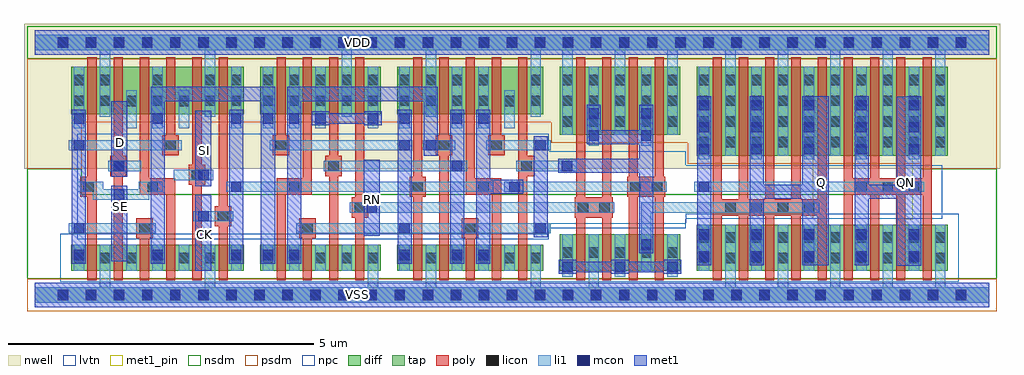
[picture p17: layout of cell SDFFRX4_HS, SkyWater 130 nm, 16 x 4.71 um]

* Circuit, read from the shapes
.subckt SDFFRX4_HS CK D Q QN RN SE SI VDD VSS
XM1 VSS SE n1 VSS sky130_fd_pr__nfet_01v8_lvt w=0.425 l=0.15
XM2 n2 D VSS VSS sky130_fd_pr__nfet_01v8_lvt w=0.425 l=0.15
XM3 n3 n1 n2 VSS sky130_fd_pr__nfet_01v8_lvt w=0.425 l=0.15
XM4 n4 SE n3 VSS sky130_fd_pr__nfet_01v8_lvt w=0.425 l=0.15
XM5 VSS SI n4 VSS sky130_fd_pr__nfet_01v8_lvt w=0.425 l=0.15
XM6 n5 CK VSS VSS sky130_fd_pr__nfet_01v8_lvt w=0.425 l=0.15
XM7 n6 n5 n3 VSS sky130_fd_pr__nfet_01v8_lvt w=0.425 l=0.15
XM8 n7 n8 n6 VSS sky130_fd_pr__nfet_01v8_lvt w=0.425 l=0.15
XM9 n9 n10 n7 VSS sky130_fd_pr__nfet_01v8_lvt w=0.425 l=0.15
XM10 VSS RN n9 VSS sky130_fd_pr__nfet_01v8_lvt w=0.425 l=0.15
XM11 VSS n5 n8 VSS sky130_fd_pr__nfet_01v8_lvt w=0.425 l=0.15
XM12 n10 n6 VSS VSS sky130_fd_pr__nfet_01v8_lvt w=0.425 l=0.15
XM13 n11 n8 n10 VSS sky130_fd_pr__nfet_01v8_lvt w=0.425 l=0.15
XM14 n12 n5 n11 VSS sky130_fd_pr__nfet_01v8_lvt w=0.425 l=0.15
XM15 VSS n13 n12 VSS sky130_fd_pr__nfet_01v8_lvt w=0.425 l=0.15
XM16 VSS RN n14 VSS sky130_fd_pr__nfet_01v8_lvt w=0.6 l=0.15 m=2
XM17 n13 n11 n14 VSS sky130_fd_pr__nfet_01v8_lvt w=0.6 l=0.15 m=2
XM18 VSS n13 n15 VSS sky130_fd_pr__nfet_01v8_lvt w=0.76 l=0.15
XM19 Q n13 VSS VSS sky130_fd_pr__nfet_01v8_lvt w=0.76 l=0.15 m=4
XM20 QN n15 VSS VSS sky130_fd_pr__nfet_01v8_lvt w=0.76 l=0.15 m=4
XM21 VDD SE n1 VDD sky130_fd_pr__pfet_01v8 w=0.78 l=0.15
XM22 n16 D VDD VDD sky130_fd_pr__pfet_01v8 w=0.78 l=0.15
XM23 n3 SE n16 VDD sky130_fd_pr__pfet_01v8 w=0.78 l=0.15
XM24 n17 n1 n3 VDD sky130_fd_pr__pfet_01v8 w=0.78 l=0.15
XM25 VDD SI n17 VDD sky130_fd_pr__pfet_01v8 w=0.78 l=0.15
XM26 n5 CK VDD VDD sky130_fd_pr__pfet_01v8 w=0.78 l=0.15
XM27 n6 n8 n3 VDD sky130_fd_pr__pfet_01v8 w=0.78 l=0.15
XM28 n18 n5 n6 VDD sky130_fd_pr__pfet_01v8 w=0.78 l=0.15
XM29 VDD n10 n18 VDD sky130_fd_pr__pfet_01v8 w=0.78 l=0.15
XM30 n18 RN VDD VDD sky130_fd_pr__pfet_01v8 w=0.78 l=0.15
XM31 VDD n5 n8 VDD sky130_fd_pr__pfet_01v8 w=0.78 l=0.15
XM32 n10 n6 VDD VDD sky130_fd_pr__pfet_01v8 w=0.78 l=0.15
XM33 n11 n5 n10 VDD sky130_fd_pr__pfet_01v8 w=0.78 l=0.15
XM34 n19 n8 n11 VDD sky130_fd_pr__pfet_01v8 w=0.78 l=0.15
XM35 VDD n13 n19 VDD sky130_fd_pr__pfet_01v8 w=0.78 l=0.15
XM36 n13 RN VDD VDD sky130_fd_pr__pfet_01v8 w=1.12 l=0.15 m=2
XM37 n13 n11 VDD VDD sky130_fd_pr__pfet_01v8 w=1.12 l=0.15 m=2
XM38 VDD n13 n15 VDD sky130_fd_pr__pfet_01v8 w=1.46 l=0.15
XM39 Q n13 VDD VDD sky130_fd_pr__pfet_01v8 w=1.46 l=0.15 m=4
XM40 QN n15 VDD VDD sky130_fd_pr__pfet_01v8 w=1.46 l=0.15 m=4
.ends

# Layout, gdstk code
from math import pi, radians
import gdstk
lib = gdstk.Library(unit=1e-6, precision=1e-09)
def R(c, l, rs):  # rectangles x0, y0, x1, y1
    for r in rs: c.add(gdstk.rectangle(r[:2], r[2:], *l))
def A(c, l, x, y, w, h, nx, ny, dx, dy):  # array of equal rectangles
    R(c, l, [(x+i*dx, y+j*dy, x+i*dx+w, y+j*dy+h) for i in range(nx) for j in range(ny)])
def P(c, l, *ps):  # polygons
    for p in ps: c.add(gdstk.Polygon(p, *l))
nwell = (64, 20)
diff = (65, 20)
tap = (65, 44)
poly = (66, 20)
licon = (66, 44)
li1 = (67, 20)
mcon = (67, 44)
met1_pin = (68, 16)
met1 = (68, 20)
nsdm = (93, 44)
psdm = (94, 20)
npc = (95, 20)
lvtn = (125, 44)

pyl1con_c_cdns_758729172 = lib.new_cell('PYL1CON_C_CDNS_758729172862')
R(pyl1con_c_cdns_758729172, poly, [(-0.135,-0.165,0.135,0.165)])
R(pyl1con_c_cdns_758729172, licon, [(-0.085,-0.085,0.085,0.085)])
R(pyl1con_c_cdns_758729172, npc, [(-0.185,-0.185,0.185,0.185)])

l1m1_c_cdns_758729172861 = lib.new_cell('L1M1_C_CDNS_7587291728613')
R(l1m1_c_cdns_758729172861, li1, [(-0.085,-0.525,0.085,0.525)])
A(l1m1_c_cdns_758729172861, mcon, -0.085, -0.445, 0.17, 0.17, 1, 3, 0, 0.36)
R(l1m1_c_cdns_758729172861, met1, [(-0.115,-0.505,0.115,0.505)])

c_l1m1_c_cdns_758729172861 = lib.new_cell('L1M1_C_CDNS_758729172861')
R(c_l1m1_c_cdns_758729172861, li1, [(-0.085,-0.165,0.085,0.165)])
R(c_l1m1_c_cdns_758729172861, mcon, [(-0.085,-0.085,0.085,0.085)])
R(c_l1m1_c_cdns_758729172861, met1, [(-0.115,-0.145,0.115,0.145)])

l1m1_c_cdns_758729172864 = lib.new_cell('L1M1_C_CDNS_758729172864')
R(l1m1_c_cdns_758729172864, li1, [(-0.085,-0.345,0.085,0.345)])
R(l1m1_c_cdns_758729172864, mcon, [(-0.085,-0.265,0.085,-0.095), (-0.085,0.095,0.085,0.265)])
R(l1m1_c_cdns_758729172864, met1, [(-0.115,-0.325,0.115,0.325)])

l1m1_c_cdns_758729172860 = lib.new_cell('L1M1_C_CDNS_758729172860')
R(l1m1_c_cdns_758729172860, li1, [(-0.165,-0.085,0.165,0.085)])
R(l1m1_c_cdns_758729172860, mcon, [(-0.085,-0.085,0.085,0.085)])
R(l1m1_c_cdns_758729172860, met1, [(-0.115,-0.145,0.115,0.145)])

l1m1_c_cdns_758729172863 = lib.new_cell('L1M1_C_CDNS_758729172863')
R(l1m1_c_cdns_758729172863, li1, [(-0.085,-0.165,0.085,0.165)])
R(l1m1_c_cdns_758729172863, mcon, [(-0.085,-0.085,0.085,0.085)])
R(l1m1_c_cdns_758729172863, met1, [(-0.145,-0.115,0.145,0.115)])

licondiff_c_cdns_7587291 = lib.new_cell('LICONDIFF_C_CDNS_7587291728611')
R(licondiff_c_cdns_7587291, diff, [(-0.125,-0.145,0.125,0.145)])
R(licondiff_c_cdns_7587291, licon, [(-0.085,-0.085,0.085,0.085), (-0.085,-0.085,0.085,0.085)])

l1m1_c_cdns_758729172865 = lib.new_cell('L1M1_C_CDNS_758729172865')
R(l1m1_c_cdns_758729172865, li1, [(-0.165,-0.085,0.165,0.085)])
R(l1m1_c_cdns_758729172865, mcon, [(-0.085,-0.085,0.085,0.085)])
R(l1m1_c_cdns_758729172865, met1, [(-0.145,-0.115,0.145,0.115)])

c_pyl1con_c_cdns_758729172 = lib.new_cell('PYL1CON_C_CDNS_7587291728618')
R(c_pyl1con_c_cdns_758729172, poly, [(-0.135,-0.29,0.135,0.29)])
R(c_pyl1con_c_cdns_758729172, licon, [(-0.085,-0.085,0.085,0.085)])
R(c_pyl1con_c_cdns_758729172, npc, [(-0.185,-0.185,0.185,0.185)])

l1m1_c_cdns_758729172862 = lib.new_cell('L1M1_C_CDNS_7587291728621')
R(l1m1_c_cdns_758729172862, li1, [(-0.125,-0.085,0.125,0.085)])
R(l1m1_c_cdns_758729172862, mcon, [(-0.085,-0.085,0.085,0.085)])
R(l1m1_c_cdns_758729172862, met1, [(-0.115,-0.145,0.115,0.145)])

c_pyl1con_c_cdns_758729172_ = lib.new_cell('PYL1CON_C_CDNS_7587291728622')
R(c_pyl1con_c_cdns_758729172_, poly, [(-0.135,-0.37,0.135,0.21)])
R(c_pyl1con_c_cdns_758729172_, licon, [(-0.085,-0.085,0.085,0.085)])
R(c_pyl1con_c_cdns_758729172_, npc, [(-0.185,-0.185,0.185,0.185)])

sdffrx4_hs = lib.new_cell('SDFFRX4_HS')
R(sdffrx4_hs, nwell, [(-0.18,2.07,15.82,4.445)])
R(sdffrx4_hs, diff, [(0.595,0.395,3.425,0.82), (3.695,0.395,5.665,0.82), (5.935,0.395,8.335,0.82), (8.605,0.395,10.575,0.995), (10.845,0.395,14.965,1.155), (10.845,2.285,14.965,3.745), (8.605,2.625,10.575,3.745), (0.595,2.965,3.425,3.745), (3.695,2.965,5.665,3.745), (5.935,2.965,8.335,3.745)])
A(sdffrx4_hs, poly, 1.72, 0.245, 0.15, 0.725, 3, 1, 2.67, 0)
A(sdffrx4_hs, poly, 11.11, 0.245, 0.15, 3.65, 9, 1, 0.43, 0)
R(sdffrx4_hs, poly, [(0.86,0.245,1.01,3.895), (1.29,0.245,1.44,3.895), (2.58,0.245,2.73,3.895), (3.01,0.245,3.16,3.895), (4.82,0.245,4.97,3.895), (5.25,0.245,5.4,3.895), (6.2,0.245,6.35,3.895), (6.63,0.245,6.78,3.895), (7.92,0.245,8.07,3.895), (2.15,2.455,2.3,3.895), (3.96,2.455,4.11,3.895), (7.49,2.455,7.64,3.895)])
P(sdffrx4_hs, poly, [(2.3,1.85),(1.87,1.85),(1.87,3.895),(1.72,3.895),(1.72,1.7),(2.15,1.7),(2.15,0.245),(2.3,0.245)],
  [(4.54,3.895),(4.39,3.895),(4.39,1.85),(3.96,1.85),(3.96,0.245),(4.11,0.245),(4.11,1.7),(4.54,1.7)],
  [(7.64,1.85),(7.21,1.85),(7.21,3.895),(7.06,3.895),(7.06,1.7),(7.49,1.7),(7.49,0.245),(7.64,0.245)],
  [(9.47,1.6),(9.45,1.6),(9.45,3.895),(9.3,3.895),(9.3,1.6),(9.02,1.6),(9.02,3.895),(8.87,3.895),(8.87,1.6),(8.85,1.6),(8.85,1.27),(8.87,1.27),(8.87,0.245),(9.02,0.245),(9.02,1.27),(9.3,1.27),(9.3,0.245),(9.45,0.245),(9.45,1.27),(9.47,1.27)],
  [(10.33,1.94),(10.31,1.94),(10.31,3.895),(10.16,3.895),(10.16,1.94),(9.88,1.94),(9.88,3.895),(9.73,3.895),(9.73,1.94),(9.71,1.94),(9.71,1.61),(9.73,1.61),(9.73,0.245),(9.88,0.245),(9.88,1.61),(10.16,1.61),(10.16,0.245),(10.31,0.245),(10.31,1.61),(10.33,1.61)])
A(sdffrx4_hs, licon, 0.375, -0.085, 0.17, 0.17, 33, 2, 0.46, 4.14)
A(sdffrx4_hs, licon, 1.065, 0.52, 0.17, 0.17, 3, 2, 0.86, 2.58)
A(sdffrx4_hs, licon, 5.975, 0.52, 0.17, 0.17, 4, 2, 0.43, 2.58)
A(sdffrx4_hs, licon, 10.885, 0.52, 0.17, 0.17, 10, 2, 0.43, 0.34)
A(sdffrx4_hs, licon, 8.645, 0.61, 0.17, 0.17, 5, 2, 0.43, 2.15)
A(sdffrx4_hs, licon, 10.885, 2.42, 0.17, 0.17, 10, 4, 0.43, 0.34)
A(sdffrx4_hs, licon, 3.735, 3.1, 0.17, 0.17, 5, 2, 0.43, 0.34)
A(sdffrx4_hs, licon, 8.645, 3.1, 0.17, 0.17, 5, 2, 0.43, 0.34)
A(sdffrx4_hs, licon, 1.065, 3.44, 0.17, 0.17, 3, 1, 0.86, 0)
A(sdffrx4_hs, licon, 5.975, 3.44, 0.17, 0.17, 4, 1, 0.43, 0)
R(sdffrx4_hs, licon, [(0.635,0.52,0.805,0.69), (3.215,0.52,3.385,0.69), (3.735,0.52,3.905,0.69), (4.165,0.52,4.335,0.69), (5.455,0.52,5.625,0.69), (8.125,0.52,8.295,0.69), (0.635,3.1,0.805,3.27), (3.215,3.1,3.385,3.27), (8.125,3.1,8.295,3.27), (0.635,3.44,0.805,3.61), (3.215,3.44,3.385,3.61), (8.125,3.44,8.295,3.61)])
A(sdffrx4_hs, li1, 0.635, 0.395, 0.17, 0.425, 3, 1, 1.29, 0)
A(sdffrx4_hs, li1, 8.645, 0.395, 0.17, 0.6, 3, 1, 0.86, 0)
A(sdffrx4_hs, li1, 10.885, 0.395, 0.17, 0.76, 5, 1, 0.86, 0)
A(sdffrx4_hs, li1, 10.885, 2.285, 0.17, 1.46, 5, 1, 0.86, 0)
A(sdffrx4_hs, li1, 0.635, 2.965, 0.17, 0.78, 3, 1, 1.29, 0)
A(sdffrx4_hs, li1, 3.735, 2.965, 0.17, 0.78, 3, 1, 0.43, 0)
R(sdffrx4_hs, li1, [(3.735,0.395,3.905,0.82), (4.165,0.395,4.335,0.82), (5.975,0.395,6.145,0.82), (6.835,0.395,7.005,0.82), (7.265,0.395,7.435,0.82), (9.075,2.625,9.245,3.745), (9.935,2.625,10.105,3.745), (5.455,2.965,5.625,3.745), (5.975,2.965,6.145,3.745), (6.835,2.965,7.005,3.745), (7.265,2.965,7.435,3.745)])
P(sdffrx4_hs, li1, [(2.095,1.86),(1.705,1.86),(1.705,1.73),(1.12,1.73),(1.12,1.86),(0.69,1.86),(0.69,1.69),(0.95,1.69),(0.95,1.56),(1.875,1.56),(1.875,1.69),(2.095,1.69)],
  [(12.855,1.52),(9.935,1.52),(9.935,0.395),(10.105,0.395),(10.105,1.35),(12.855,1.35)],
  [(15.64,4.265),(0,4.265),(0,4.015),(1.065,4.015),(1.065,2.925),(1.235,2.925),(1.235,4.015),(2.785,4.015),(2.785,2.925),(2.955,2.925),(2.955,4.015),(5.025,4.015),(5.025,2.925),(5.195,2.925),(5.195,4.015),(6.405,4.015),(6.405,2.925),(6.575,2.925),(6.575,4.015),(8.125,4.015),(8.125,2.925),(8.295,2.925),(8.295,4.015),(8.645,4.015),(8.645,2.625),(8.815,2.625),(8.815,4.015),(9.505,4.015),(9.505,2.625),(9.675,2.625),(9.675,4.015),(10.365,4.015),(10.365,2.625),(10.535,2.625),(10.535,4.015),(11.315,4.015),(11.315,2.285),(11.485,2.285),(11.485,4.015),(12.175,4.015),(12.175,2.285),(12.345,2.285),(12.345,4.015),(13.035,4.015),(13.035,2.285),(13.205,2.285),(13.205,4.015),(13.895,4.015),(13.895,2.285),(14.065,2.285),(14.065,4.015),(14.755,4.015),(14.755,2.285),(14.925,2.285),(14.925,4.015),(15.64,4.015)],
  [(15.64,0.125),(14.925,0.125),(14.925,1.155),(14.755,1.155),(14.755,0.125),(14.065,0.125),(14.065,1.155),(13.895,1.155),(13.895,0.125),(13.205,0.125),(13.205,1.155),(13.035,1.155),(13.035,0.125),(12.345,0.125),(12.345,1.155),(12.175,1.155),(12.175,0.125),(11.485,0.125),(11.485,1.155),(11.315,1.155),(11.315,0.125),(9.245,0.125),(9.245,0.995),(9.075,0.995),(9.075,0.125),(8.295,0.125),(8.295,0.82),(8.125,0.82),(8.125,0.125),(6.575,0.125),(6.575,0.82),(6.405,0.82),(6.405,0.125),(5.625,0.125),(5.625,0.82),(5.455,0.82),(5.455,0.125),(2.955,0.125),(2.955,0.82),(2.785,0.82),(2.785,0.125),(1.235,0.125),(1.235,0.82),(1.065,0.82),(1.065,0.125),(0,0.125),(0,-0.125),(15.64,-0.125)])
A(sdffrx4_hs, mcon, 0.375, -0.085, 0.17, 0.17, 33, 2, 0.46, 4.14)
R(sdffrx4_hs, met1_pin, [(2.63,0.4,2.89,1.64), (1.25,0.55,1.51,1.79), (5.39,0.975,5.65,2.215), (14.13,1.245,14.39,2.485), (12.75,1.25,13.01,2.49), (2.63,1.78,2.89,3.02), (1.25,1.935,1.51,3.175)])
P(sdffrx4_hs, met1, [(8.005,1.89),(7.465,1.89),(7.465,3.04),(7.235,3.04),(7.235,0.51),(7.465,0.51),(7.465,1.66),(8.005,1.66)],
  [(10.135,3.12),(9.905,3.12),(9.905,2.7),(9.045,2.7),(9.045,2.47),(9.905,2.47),(9.905,2.23),(8.575,2.23),(8.575,2),(9.905,2),(9.905,0.685),(10.135,0.685)],
  [(13.01,3.255),(12.575,3.255),(12.575,1.805),(11.945,1.805),(11.945,3.255),(11.715,3.255),(11.715,0.485),(11.945,0.485),(11.945,1.575),(12.575,1.575),(12.575,0.49),(12.75,0.49),(12.75,0.485),(13.01,0.485)],
  [(14.525,3.25),(14.13,3.25),(14.13,1.805),(13.665,1.805),(13.665,3.255),(13.435,3.255),(13.435,0.485),(13.665,0.485),(13.665,1.575),(14.13,1.575),(14.13,0.48),(14.525,0.48)])
R(sdffrx4_hs, nsdm, [(-0.125,3.875,15.765,4.405)])
P(sdffrx4_hs, nsdm, [(15.765,2.07),(14.515,2.07),(14.515,1.65),(0.77,1.65),(0.77,2.07),(-0.125,2.07),(-0.125,0.265),(15.765,0.265)])
R(sdffrx4_hs, psdm, [(-0.125,-0.265,15.765,0.265)])
P(sdffrx4_hs, psdm, [(15.765,3.875),(-0.125,3.875),(-0.125,2.07),(0.77,2.07),(0.77,2.835),(8.465,2.835),(8.465,2.495),(10.705,2.495),(10.705,2.155),(14.515,2.155),(14.515,2.07),(15.765,2.07)])
P(sdffrx4_hs, npc, [(14.87,2.13),(10.665,2.13),(10.665,2.355),(8.425,2.355),(8.425,2.64),(0.69,2.64),(0.69,0.91),(8.425,0.91),(8.425,1.09),(10.665,1.09),(10.665,1.25),(14.87,1.25)])
P(sdffrx4_hs, lvtn, [(15.145,1.335),(10.665,1.335),(10.665,1.175),(8.425,1.175),(8.425,1),(0.415,1),(0.415,0.215),(15.145,0.215)])
sdffrx4_hs.add(gdstk.FlexPath([(6.365,2.455),(6.89,2.455)], 0.17, ends="flush", simple_path=True, layer=67, datatype=20))  # li1
sdffrx4_hs.add(gdstk.FlexPath([(3.85,2.455),(6.185,2.455)], 0.17, ends="flush", simple_path=True, layer=67, datatype=20))  # li1
sdffrx4_hs.add(gdstk.FlexPath([(7.4,2.455),(8.455,2.455)], 0.17, ends="flush", simple_path=True, layer=67, datatype=20))  # li1
sdffrx4_hs.add(gdstk.FlexPath([(0.555,1.095),(1.98,1.095)], 0.17, ends="flush", simple_path=True, layer=67, datatype=20))  # li1
sdffrx4_hs.add(gdstk.FlexPath([(7.78,2.73),(7.78,3.355)], 0.17, ends="flush", simple_path=True, layer=67, datatype=20))  # li1
sdffrx4_hs.add(gdstk.FlexPath([(7.78,0.395),(7.78,0.82)], 0.17, ends="flush", simple_path=True, layer=67, datatype=20))  # li1
sdffrx4_hs.add(gdstk.FlexPath([(5.11,0.395),(5.11,0.82)], 0.17, ends="flush", simple_path=True, layer=67, datatype=20))  # li1
sdffrx4_hs.add(gdstk.FlexPath([(4.68,0.395),(4.68,0.82)], 0.17, ends="flush", simple_path=True, layer=67, datatype=20))  # li1
sdffrx4_hs.add(gdstk.FlexPath([(2.82,1.97),(2.275,1.97)], 0.17, ends="flush", simple_path=True, layer=67, datatype=20))  # li1
sdffrx4_hs.add(gdstk.FlexPath([(3.25,1.29),(2.705,1.29)], 0.17, ends="flush", simple_path=True, layer=67, datatype=20))  # li1
sdffrx4_hs.add(gdstk.FlexPath([(3.135,1.775),(7.515,1.775)], 0.17, ends="flush", simple_path=True, layer=67, datatype=20))  # li1
sdffrx4_hs.add(gdstk.FlexPath([(0.555,2.455),(2.41,2.455)], 0.17, ends="flush", simple_path=True, layer=67, datatype=20))  # li1
sdffrx4_hs.add(gdstk.FlexPath([(1.58,2.73),(1.58,3.355)], 0.17, ends="flush", simple_path=True, layer=67, datatype=20))  # li1
sdffrx4_hs.add(gdstk.FlexPath([(2.44,2.73),(2.44,3.355)], 0.17, ends="flush", simple_path=True, layer=67, datatype=20))  # li1
sdffrx4_hs.add(gdstk.FlexPath([(7.695,1.775),(10.36,1.775)], 0.17, ends="flush", simple_path=True, layer=67, datatype=20))  # li1
sdffrx4_hs.add(gdstk.FlexPath([(5.16,1.435),(9.5,1.435)], 0.17, ends="flush", simple_path=True, layer=67, datatype=20))  # li1
sdffrx4_hs.add(gdstk.FlexPath([(7.89,2.115),(8.885,2.115)], 0.17, ends="flush", simple_path=True, layer=67, datatype=20))  # li1
sdffrx4_hs.add(gdstk.FlexPath([(4.28,1.095),(8.455,1.095)], 0.17, ends="flush", simple_path=True, layer=67, datatype=20))  # li1
sdffrx4_hs.add(gdstk.FlexPath([(10.97,1.775),(14.575,1.775)], 0.17, ends="flush", simple_path=True, layer=67, datatype=20))  # li1
sdffrx4_hs.add(gdstk.FlexPath([(1.58,0.395),(1.58,0.82)], 0.17, ends="flush", simple_path=True, layer=67, datatype=20))  # li1
sdffrx4_hs.add(gdstk.FlexPath([(2.44,0.395),(2.44,0.82)], 0.17, ends="flush", simple_path=True, layer=67, datatype=20))  # li1
sdffrx4_hs.add(gdstk.FlexPath([(1.745,2.115),(1.2,2.115)], 0.17, ends="flush", simple_path=True, layer=67, datatype=20))  # li1
sdffrx4_hs.add(gdstk.FlexPath([(7.085,2.115),(4.73,2.115)], 0.17, ends="flush", simple_path=True, layer=67, datatype=20))  # li1
sdffrx4_hs.add(gdstk.FlexPath([(0,4.14),(15.64,4.14)], 0.4, ends="flush", simple_path=True, layer=68, datatype=20))  # met1
sdffrx4_hs.add(gdstk.FlexPath([(0,0),(15.64,0)], 0.4, ends="flush", simple_path=True, layer=68, datatype=20))  # met1
sdffrx4_hs.add(gdstk.FlexPath([(8.29,0.95),(8.29,2.6)], 0.23, ends="flush", simple_path=True, layer=68, datatype=20))  # met1
sdffrx4_hs.add(gdstk.FlexPath([(2.01,0.51),(2.01,3.295),(3.82,3.295),(3.82,0.51)], 0.23, ends="flush", simple_path=True, layer=68, datatype=20))  # met1
sdffrx4_hs.add(gdstk.FlexPath([(0.72,0.51),(0.72,3.04)], 0.23, ends="flush", simple_path=True, layer=68, datatype=20))  # met1
sdffrx4_hs.add(gdstk.FlexPath([(6.06,0.51),(6.06,3.04)], 0.23, ends="flush", simple_path=True, layer=68, datatype=20))  # met1
sdffrx4_hs.add(gdstk.FlexPath([(3.3,0.51),(3.3,3.04)], 0.23, ends="flush", simple_path=True, layer=68, datatype=20))  # met1
sdffrx4_hs.add(gdstk.FlexPath([(5.52,0.975),(5.52,2.215)], 0.26, ends="flush", simple_path=True, layer=68, datatype=20))  # met1
sdffrx4_hs.add(gdstk.FlexPath([(2.76,0.4),(2.76,1.64)], 0.26, ends="flush", simple_path=True, layer=68, datatype=20))  # met1
sdffrx4_hs.add(gdstk.FlexPath([(2.76,1.78),(2.76,3.02)], 0.26, ends="flush", simple_path=True, layer=68, datatype=20))  # met1
sdffrx4_hs.add(gdstk.FlexPath([(1.38,1.935),(1.38,3.175)], 0.26, ends="flush", simple_path=True, layer=68, datatype=20))  # met1
sdffrx4_hs.add(gdstk.FlexPath([(10.97,0.485),(10.97,3.255)], 0.23, ends="flush", simple_path=True, layer=68, datatype=20))  # met1
sdffrx4_hs.add(gdstk.FlexPath([(8.585,0.46),(10.595,0.46)], 0.17, ends="flush", simple_path=True, layer=68, datatype=20))  # met1
sdffrx4_hs.add(gdstk.FlexPath([(4.535,2.895),(5.685,2.895)], 0.17, ends="flush", simple_path=True, layer=68, datatype=20))  # met1
sdffrx4_hs.add(gdstk.FlexPath([(1.38,0.55),(1.38,1.79)], 0.26, ends="flush", simple_path=True, layer=68, datatype=20))  # met1
sdffrx4_hs.add(gdstk.FlexPath([(6.92,0.51),(6.92,3.04)], 0.23, ends="flush", simple_path=True, layer=68, datatype=20))  # met1
sdffrx4_hs.add(gdstk.FlexPath([(6.49,2.28),(6.49,3.295),(4.25,3.295),(4.25,0.51)], 0.23, ends="flush", simple_path=True, layer=68, datatype=20))  # met1
sdffrx4_hs.add(gdstk.FlexPath([(0,4.14),(15.64,4.14)], 0.4, ends="flush", simple_path=True, layer=68, datatype=16))  # met1_pin
sdffrx4_hs.add(gdstk.FlexPath([(0,0),(15.64,0)], 0.4, ends="flush", simple_path=True, layer=68, datatype=16))  # met1_pin
sdffrx4_hs.add(gdstk.FlexPath([(0,4.14),(15.64,4.14)], 0.25, ends="flush", simple_path=True, layer=65, datatype=44))  # tap
sdffrx4_hs.add(gdstk.FlexPath([(0,0),(15.64,0)], 0.25, ends="flush", simple_path=True, layer=65, datatype=44))  # tap
sdffrx4_hs.add(gdstk.Reference(pyl1con_c_cdns_758729172, (6.705,2.455), rotation=pi))
sdffrx4_hs.add(gdstk.Reference(pyl1con_c_cdns_758729172, (4.895,2.115)))
sdffrx4_hs.add(gdstk.Reference(pyl1con_c_cdns_758729172, (5.325,1.435), rotation=pi, x_reflection=True))
sdffrx4_hs.add(gdstk.Reference(pyl1con_c_cdns_758729172, (6.275,1.775), x_reflection=True))
sdffrx4_hs.add(gdstk.Reference(pyl1con_c_cdns_758729172, (3.085,1.29), x_reflection=True))
sdffrx4_hs.add(gdstk.Reference(pyl1con_c_cdns_758729172, (2.655,1.97), x_reflection=True))
sdffrx4_hs.add(gdstk.Reference(pyl1con_c_cdns_758729172, (2.225,2.455), rotation=pi))
sdffrx4_hs.add(gdstk.Reference(pyl1con_c_cdns_758729172, (1.795,1.095), x_reflection=True))
sdffrx4_hs.add(gdstk.Reference(pyl1con_c_cdns_758729172, (4.465,1.095), rotation=pi))
sdffrx4_hs.add(gdstk.Reference(pyl1con_c_cdns_758729172, (4.035,2.455), x_reflection=True))
sdffrx4_hs.add(gdstk.Reference(pyl1con_c_cdns_758729172, (7.565,2.455), rotation=pi))
sdffrx4_hs.add(gdstk.Reference(pyl1con_c_cdns_758729172, (7.135,1.095), x_reflection=True))
sdffrx4_hs.add(gdstk.Reference(pyl1con_c_cdns_758729172, (8.055,2.115), rotation=pi, x_reflection=True))
sdffrx4_hs.add(gdstk.Reference(pyl1con_c_cdns_758729172, (9.335,1.435), rotation=pi, x_reflection=True))
sdffrx4_hs.add(gdstk.Reference(pyl1con_c_cdns_758729172, (8.985,1.435), rotation=pi, x_reflection=True))
sdffrx4_hs.add(gdstk.Reference(pyl1con_c_cdns_758729172, (13.55,1.775), rotation=3*pi/2, x_reflection=True))
sdffrx4_hs.add(gdstk.Reference(pyl1con_c_cdns_758729172, (13.98,1.775), rotation=3*pi/2, x_reflection=True))
sdffrx4_hs.add(gdstk.Reference(pyl1con_c_cdns_758729172, (12.69,1.435), rotation=3*pi/2, x_reflection=True))
sdffrx4_hs.add(gdstk.Reference(pyl1con_c_cdns_758729172, (12.26,1.435), rotation=3*pi/2, x_reflection=True))
sdffrx4_hs.add(gdstk.Reference(pyl1con_c_cdns_758729172, (11.83,1.435), rotation=3*pi/2, x_reflection=True))
sdffrx4_hs.add(gdstk.Reference(pyl1con_c_cdns_758729172, (14.41,1.775), rotation=3*pi/2, x_reflection=True))
sdffrx4_hs.add(gdstk.Reference(pyl1con_c_cdns_758729172, (0.875,1.775)))
sdffrx4_hs.add(gdstk.Reference(pyl1con_c_cdns_758729172, (10.195,1.775), rotation=pi, x_reflection=True))
sdffrx4_hs.add(gdstk.Reference(pyl1con_c_cdns_758729172, (9.845,1.775), rotation=pi, x_reflection=True))
sdffrx4_hs.add(gdstk.Reference(pyl1con_c_cdns_758729172, (1.365,2.115)))
sdffrx4_hs.add(gdstk.Reference(pyl1con_c_cdns_758729172, (11.4,1.435), rotation=3*pi/2, x_reflection=True))
sdffrx4_hs.add(gdstk.Reference(l1m1_c_cdns_758729172861, (13.55,2.75)))
sdffrx4_hs.add(gdstk.Reference(l1m1_c_cdns_758729172861, (14.41,2.75)))
sdffrx4_hs.add(gdstk.Reference(l1m1_c_cdns_758729172861, (10.97,2.75)))
sdffrx4_hs.add(gdstk.Reference(l1m1_c_cdns_758729172861, (12.69,2.75)))
sdffrx4_hs.add(gdstk.Reference(l1m1_c_cdns_758729172861, (11.83,2.75)))
sdffrx4_hs.add(gdstk.Reference(c_l1m1_c_cdns_758729172861, (3.82,2.895)))
sdffrx4_hs.add(gdstk.Reference(c_l1m1_c_cdns_758729172861, (3.82,0.655)))
sdffrx4_hs.add(gdstk.Reference(c_l1m1_c_cdns_758729172861, (2.01,2.895)))
sdffrx4_hs.add(gdstk.Reference(c_l1m1_c_cdns_758729172861, (2.01,0.655)))
sdffrx4_hs.add(gdstk.Reference(c_l1m1_c_cdns_758729172861, (0.72,2.895)))
sdffrx4_hs.add(gdstk.Reference(c_l1m1_c_cdns_758729172861, (0.72,0.655)))
sdffrx4_hs.add(gdstk.Reference(c_l1m1_c_cdns_758729172861, (6.06,0.655)))
sdffrx4_hs.add(gdstk.Reference(c_l1m1_c_cdns_758729172861, (6.06,2.895)))
sdffrx4_hs.add(gdstk.Reference(c_l1m1_c_cdns_758729172861, (3.3,0.655)))
sdffrx4_hs.add(gdstk.Reference(c_l1m1_c_cdns_758729172861, (3.3,2.895)))
sdffrx4_hs.add(gdstk.Reference(c_l1m1_c_cdns_758729172861, (4.25,2.895)))
sdffrx4_hs.add(gdstk.Reference(c_l1m1_c_cdns_758729172861, (4.25,0.655)))
sdffrx4_hs.add(gdstk.Reference(c_l1m1_c_cdns_758729172861, (6.92,0.655)))
sdffrx4_hs.add(gdstk.Reference(c_l1m1_c_cdns_758729172861, (6.92,2.895)))
sdffrx4_hs.add(gdstk.Reference(c_l1m1_c_cdns_758729172861, (7.35,2.895)))
sdffrx4_hs.add(gdstk.Reference(c_l1m1_c_cdns_758729172861, (7.35,0.655)))
sdffrx4_hs.add(gdstk.Reference(c_l1m1_c_cdns_758729172861, (10.02,0.83), rotation=pi, x_reflection=True))
sdffrx4_hs.add(gdstk.Reference(l1m1_c_cdns_758729172864, (9.16,2.795), rotation=pi, x_reflection=True))
sdffrx4_hs.add(gdstk.Reference(l1m1_c_cdns_758729172864, (10.02,2.795), rotation=pi, x_reflection=True))
sdffrx4_hs.add(gdstk.Reference(l1m1_c_cdns_758729172864, (13.55,0.81)))
sdffrx4_hs.add(gdstk.Reference(l1m1_c_cdns_758729172864, (14.41,0.81)))
sdffrx4_hs.add(gdstk.Reference(l1m1_c_cdns_758729172864, (12.69,0.81)))
sdffrx4_hs.add(gdstk.Reference(l1m1_c_cdns_758729172864, (11.83,0.81)))
sdffrx4_hs.add(gdstk.Reference(l1m1_c_cdns_758729172864, (10.97,0.81)))
sdffrx4_hs.add(gdstk.Reference(l1m1_c_cdns_758729172860, (8.29,2.455)))
sdffrx4_hs.add(gdstk.Reference(l1m1_c_cdns_758729172860, (8.29,1.095)))
sdffrx4_hs.add(gdstk.Reference(l1m1_c_cdns_758729172860, (6.92,2.115), rotation=pi, x_reflection=True))
sdffrx4_hs.add(gdstk.Reference(l1m1_c_cdns_758729172860, (2.76,1.29), x_reflection=True))
sdffrx4_hs.add(gdstk.Reference(l1m1_c_cdns_758729172860, (2.76,1.97), x_reflection=True))
sdffrx4_hs.add(gdstk.Reference(l1m1_c_cdns_758729172860, (3.3,1.775)))
sdffrx4_hs.add(gdstk.Reference(l1m1_c_cdns_758729172860, (6.06,1.095)))
sdffrx4_hs.add(gdstk.Reference(l1m1_c_cdns_758729172860, (5.52,1.435), x_reflection=True))
sdffrx4_hs.add(gdstk.Reference(l1m1_c_cdns_758729172860, (1.38,1.645), x_reflection=True))
sdffrx4_hs.add(gdstk.Reference(l1m1_c_cdns_758729172860, (1.38,2.115), x_reflection=True))
sdffrx4_hs.add(gdstk.Reference(l1m1_c_cdns_758729172860, (10.97,1.775)))
sdffrx4_hs.add(gdstk.Reference(l1m1_c_cdns_758729172860, (0.72,1.095)))
sdffrx4_hs.add(gdstk.Reference(l1m1_c_cdns_758729172860, (0.72,2.455)))
sdffrx4_hs.add(gdstk.Reference(l1m1_c_cdns_758729172863, (9.59,0.46)))
sdffrx4_hs.add(gdstk.Reference(l1m1_c_cdns_758729172863, (4.68,2.895)))
sdffrx4_hs.add(gdstk.Reference(l1m1_c_cdns_758729172863, (10.45,0.46)))
sdffrx4_hs.add(gdstk.Reference(l1m1_c_cdns_758729172863, (8.73,0.46)))
sdffrx4_hs.add(gdstk.Reference(l1m1_c_cdns_758729172863, (5.54,2.895)))
sdffrx4_hs.add(gdstk.Reference(licondiff_c_cdns_7587291, (7.78,3.18)))
sdffrx4_hs.add(gdstk.Reference(licondiff_c_cdns_7587291, (7.78,0.605)))
sdffrx4_hs.add(gdstk.Reference(licondiff_c_cdns_7587291, (5.11,0.605)))
sdffrx4_hs.add(gdstk.Reference(licondiff_c_cdns_7587291, (4.68,0.605)))
sdffrx4_hs.add(gdstk.Reference(licondiff_c_cdns_7587291, (2.44,0.605)))
sdffrx4_hs.add(gdstk.Reference(licondiff_c_cdns_7587291, (1.58,0.605)))
sdffrx4_hs.add(gdstk.Reference(licondiff_c_cdns_7587291, (2.44,3.18)))
sdffrx4_hs.add(gdstk.Reference(licondiff_c_cdns_7587291, (1.58,3.18)))
sdffrx4_hs.add(gdstk.Reference(l1m1_c_cdns_758729172865, (8.72,2.115), rotation=pi, x_reflection=True))
sdffrx4_hs.add(gdstk.Reference(l1m1_c_cdns_758729172865, (7.86,1.775)))
sdffrx4_hs.add(gdstk.Reference(c_pyl1con_c_cdns_758729172, (4.25,1.775), rotation=pi/2, x_reflection=True))
sdffrx4_hs.add(gdstk.Reference(c_pyl1con_c_cdns_758729172, (7.35,1.775), rotation=pi/2))
sdffrx4_hs.add(gdstk.Reference(l1m1_c_cdns_758729172862, (6.49,2.455)))
sdffrx4_hs.add(gdstk.Reference(l1m1_c_cdns_758729172862, (6.06,2.455)))
sdffrx4_hs.add(gdstk.Reference(c_pyl1con_c_cdns_758729172_, (1.93,1.775), rotation=pi/2))
sdffrx4_hs.add(gdstk.Label('Q', (12.895,1.845), layer=68, texttype=5))
sdffrx4_hs.add(gdstk.Label('RN', (5.535,1.57), layer=68, texttype=5))
sdffrx4_hs.add(gdstk.Label('CK', (2.775,0.995), layer=68, texttype=5))
sdffrx4_hs.add(gdstk.Label('SI', (2.775,2.375), layer=68, texttype=5))
sdffrx4_hs.add(gdstk.Label('D', (1.395,2.505), layer=68, texttype=5))
sdffrx4_hs.add(gdstk.Label('SE', (1.395,1.455), layer=68, texttype=5))
sdffrx4_hs.add(gdstk.Label('QN', (14.275,1.84), layer=68, texttype=5))
sdffrx4_hs.add(gdstk.Label('VDD', (5.285,4.145), layer=68, texttype=5))
sdffrx4_hs.add(gdstk.Label('VSS', (5.285,0.005), layer=68, texttype=5))

lib.write_gds('SDFFRX4_HS.gds')
